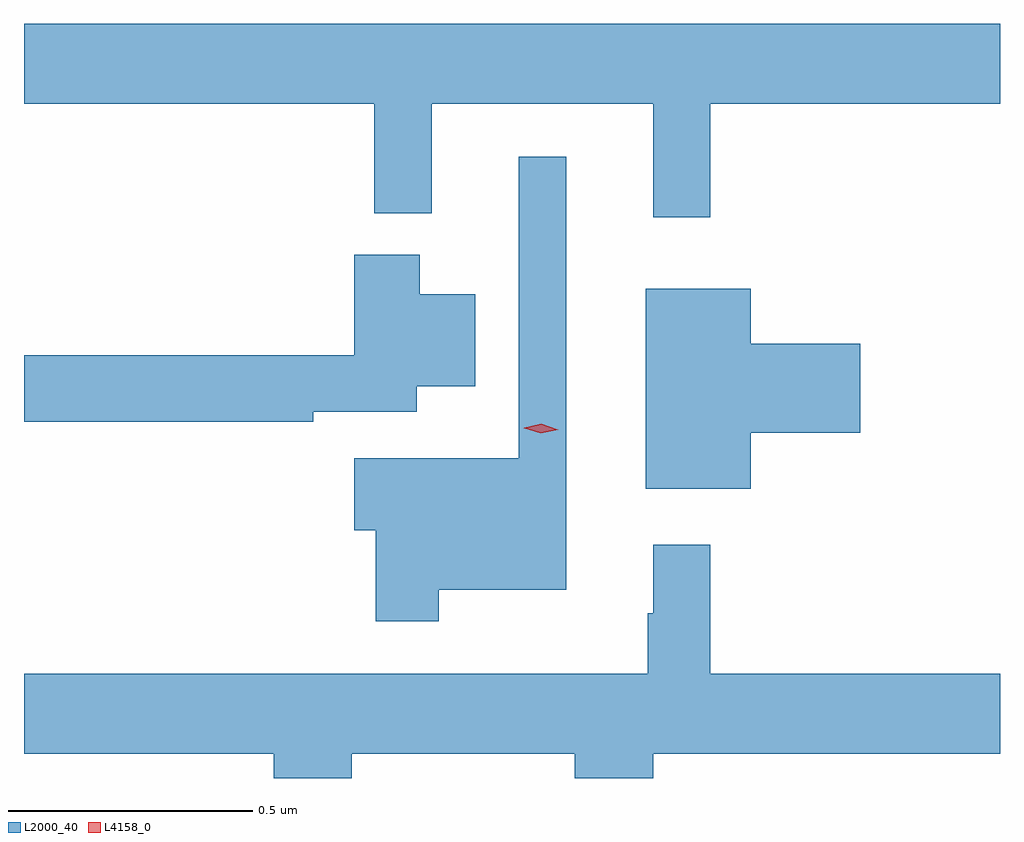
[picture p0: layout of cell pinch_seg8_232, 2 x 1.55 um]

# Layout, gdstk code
import gdstk
lib = gdstk.Library(unit=1e-6, precision=1e-09)
def P(c, l, *ps):  # polygons
    for p in ps: c.add(gdstk.Polygon(p, *l))
L2000_40 = (2000, 40)
L4158_0 = (4158, 0)

pinch_seg8_232 = lib.new_cell('pinch_seg8_232')
P(pinch_seg8_232, L2000_40, [(630.275,1101.848),(630.869,1101.848),(630.869,1102.012),(628.869,1102.012),(628.869,1101.848),(629.587,1101.848),(629.587,1101.623),(629.705,1101.623),(629.705,1101.848),(630.158,1101.848),(630.158,1101.615),(630.275,1101.615)],
  [(629.719,1100.852),(629.98,1100.852),(629.98,1101.739),(629.883,1101.739),(629.883,1101.121),(629.546,1101.121),(629.546,1100.974),(629.59,1100.974),(629.59,1100.787),(629.719,1100.787)],
  [(629.462,1101.216),(629.674,1101.216),(629.674,1101.269),(629.794,1101.269),(629.794,1101.457),(629.68,1101.457),(629.68,1101.538),(629.546,1101.538),(629.546,1101.332),(628.869,1101.332),(628.869,1101.196),(629.462,1101.196)],
  [(630.358,1101.173),(630.583,1101.173),(630.583,1101.356),(630.358,1101.356),(630.358,1101.469),(630.143,1101.469),(630.143,1101.059),(630.358,1101.059)],
  [(629.541,1100.516),(629.998,1100.516),(629.998,1100.465),(630.158,1100.465),(630.158,1100.516),(630.869,1100.516),(630.869,1100.68),(630.275,1100.68),(630.275,1100.944),(630.158,1100.944),(630.158,1100.804),(630.147,1100.804),(630.147,1100.68),(628.869,1100.68),(628.869,1100.516),(629.381,1100.516),(629.381,1100.465),(629.541,1100.465)])
P(pinch_seg8_232, L4158_0, [(629.928,1101.172),(629.894,1101.183),(629.893,1101.183),(629.894,1101.184),(629.929,1101.192),(629.964,1101.18),(629.964,1101.18),(629.964,1101.18)])

lib.write_gds('pinch_seg8_232.gds')
